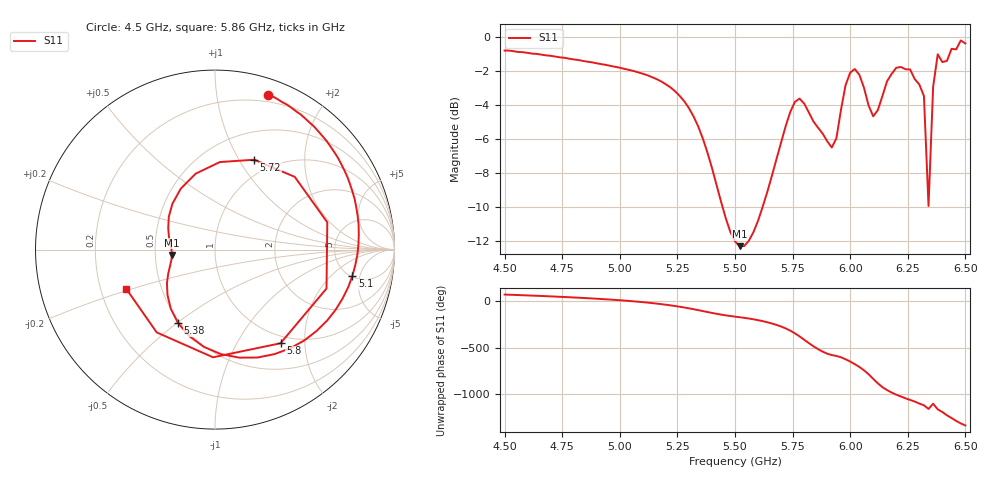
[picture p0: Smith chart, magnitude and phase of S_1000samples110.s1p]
! TOUCHSTONE file generated by CST MICROWAVE STUDIO
! Date and time: Thu Oct 27 00:58:22 2022
! Project name: L.cst
! Parameters = {Di=1.27; Epsilon_r=1.56; InnerDiameter=1.27; Length=2; Lf=10; Lg=60; OuterConductorThickness=0.2921; OuterDiameter=3.6; Wf=3; Wp=41.2; de=1.5; df=6.8; g=0.8; gx=2.18162; gy=1.81297; h=2.34; hf=1.524; px=9.87765; py=14.0867; w=9.7; wx=7.69603; wy=12.2737}
! Header version: 2018
! Port assignment regex: !\s*Touchstone port\s*([0-9]+)\s*=\s*(CST MWS port|CST DS port)\s*([0-9]+|Zmin|Zmax)\s*\(\"(.*)\"\)(\s*mode\s*([0-9]+))?.*
! Touchstone port assignment:
! Touchstone port 1 = CST MWS port 1 ("")
# GHz S DB R 50
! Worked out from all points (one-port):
!   101 points, 4.5 GHz to 6.5 GHz, reference 50 ohm
!   lowest |S11| = -12.3 dB at 5.52 GHz (marker M1), VSWR 1.64, Z = 30.6 - j1.94 ohm
!   |S11| at or under -10 dB: 5.445 GHz to 5.62 GHz (174.8 MHz wide, 3.16 % of centre)
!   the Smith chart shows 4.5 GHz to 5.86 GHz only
!   S11 on the Smith chart (normalised r, x): 4.5 GHz: 0.14, +1.39; 5.1 GHz: 5.09, -3.84; 5.38 GHz: 0.49, -0.50; 5.72 GHz: 0.81, +1.16; 5.8 GHz: 0.88, -1.54; 5.86 GHz: 0.31, -0.19
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4.5  -0.80 71.0
4.76  -1.23 44.4
5  -1.81 9.7
5.1  -2.17 -11.0
5.26  -3.47 -60.3
5.38  -6.80 -116.9
5.5  -12.05 -166.7
5.52  -12.33 -172.9
5.64  -9.14 132.8
5.72  -5.25 66.5
5.76  -3.82 13.6
5.8  -3.92 -55.0
5.86  -5.34 -156.2
5.96  -4.29 115.6
6  -2.10 69.2
6.04  -2.24 11.2
6.08  -4.05 -67.4
6.12  -4.31 -164.9
6.14  -3.47 154.1
6.2  -1.82 72.8
6.26  -1.91 16.5
6.32  -3.48 -41.1
6.34  -9.97 -80.5
6.36  -2.94 -24.1
6.38  -1.02 -85.0
6.44  -0.70 -178.6
6.48  -0.21 123.3
6.5  -0.38 101.6
